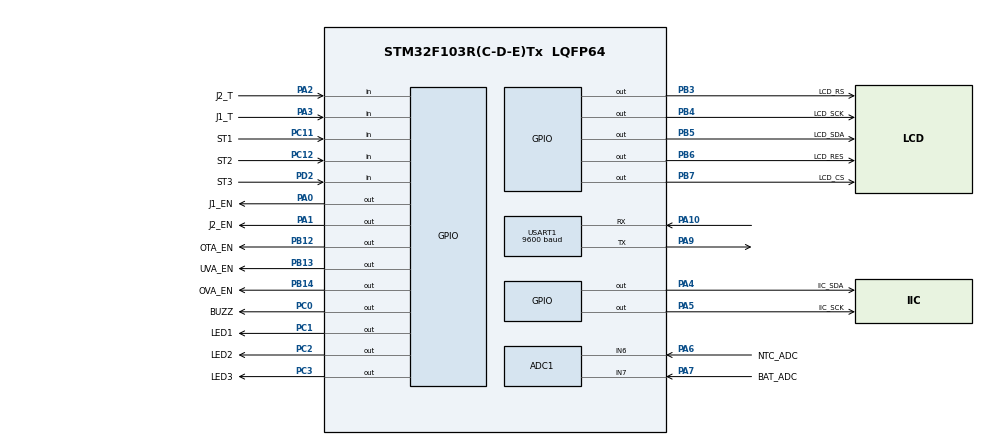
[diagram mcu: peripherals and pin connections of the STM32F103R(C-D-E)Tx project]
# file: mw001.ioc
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ADC1.Channel-0\#ChannelRegularConversion=ADC_CHANNEL_6
ADC1.NbrOfConversionFlag=1
ADC1.Rank-0\#ChannelRegularConversion=1
ADC1.SamplingTime-0\#ChannelRegularConversion=ADC_SAMPLETIME_1CYCLE_5
ADC1.master=1
Dma.Request0=USART1_RX
Dma.USART1_RX.0.Direction=DMA_PERIPH_TO_MEMORY
Dma.USART1_RX.0.Instance=DMA1_Channel5
Dma.USART1_RX.0.MemDataAlignment=DMA_MDATAALIGN_BYTE
Dma.USART1_RX.0.MemInc=DMA_MINC_ENABLE
Dma.USART1_RX.0.Mode=DMA_CIRCULAR
Dma.USART1_RX.0.PeriphDataAlignment=DMA_PDATAALIGN_BYTE
Dma.USART1_RX.0.PeriphInc=DMA_PINC_DISABLE
Dma.USART1_RX.0.Priority=DMA_PRIORITY_LOW
Mcu.Family=STM32F1
Mcu.Name=STM32F103R(C-D-E)Tx
Mcu.Package=LQFP64
NVIC.DMA1_Channel5_IRQn=true\:0\:0\:false\:false\:true\:false\:true
NVIC.PriorityGroup=NVIC_PRIORITYGROUP_4
NVIC.USART1_IRQn=true\:0\:0\:false\:false\:true\:true\:true
PA0-WKUP.GPIO_Label=J1_EN
PA0-WKUP.Signal=GPIO_Output
PA1.GPIO_Label=J2_EN
PA1.Signal=GPIO_Output
PA10.Mode=Asynchronous
PA10.Signal=USART1_RX
PA13.Mode=Serial_Wire
PA13.Signal=SYS_JTMS-SWDIO
PA14.Mode=Serial_Wire
PA14.Signal=SYS_JTCK-SWCLK
PA2.GPIO_Label=J2_T
PA2.Signal=GPIO_Input
PA3.GPIO_Label=J1_T
PA3.Signal=GPIO_Input
PA4.GPIO_Label=IIC_SDA
PA4.Signal=GPIO_Output
PA5.GPIO_Label=IIC_SCK
PA5.Signal=GPIO_Output
PA6.GPIO_Label=NTC_ADC
PA6.Signal=ADCx_IN6
PA7.GPIO_Label=BAT_ADC
PA7.Signal=ADCx_IN7
PA9.Mode=Asynchronous
PA9.Signal=USART1_TX
PB12.GPIO_Label=OTA_EN
PB12.Signal=GPIO_Output
PB13.GPIO_Label=UVA_EN
PB13.Signal=GPIO_Output
PB14.GPIO_Label=OVA_EN
PB14.Signal=GPIO_Output
PB3.GPIO_Label=LCD_RS
PB3.Signal=GPIO_Output
PB4.GPIO_Label=LCD_SCK
PB4.Signal=GPIO_Output
PB5.GPIO_Label=LCD_SDA
PB5.Signal=GPIO_Output
PB6.GPIO_Label=LCD_RES
PB6.Signal=GPIO_Output
PB7.GPIO_Label=LCD_CS
PB7.Signal=GPIO_Output
PC0.GPIO_Label=BUZZ
PC0.Signal=GPIO_Output
PC1.GPIO_Label=LED1
PC1.Signal=GPIO_Output
PC11.GPIO_Label=ST1
PC11.GPIO_PuPd=GPIO_PULLUP
PC11.Signal=GPIO_Input
PC12.GPIO_Label=ST2
PC12.GPIO_PuPd=GPIO_PULLUP
PC12.Signal=GPIO_Input
PC2.GPIO_Label=LED2
PC2.Signal=GPIO_Output
PC3.GPIO_Label=LED3
PC3.Signal=GPIO_Output
PD2.GPIO_Label=ST3
PD2.GPIO_PuPd=GPIO_PULLUP
PD2.Signal=GPIO_Input
ProjectManager.HeapSize=0x200
ProjectManager.StackSize=0x400
ProjectManager.TargetToolchain=MDK-ARM V5.27
RCC.APB1Freq_Value=8000000
RCC.APB2Freq_Value=8000000
SH.ADCx_IN6.0=ADC1_IN6,IN6
SH.ADCx_IN7.0=ADC1_IN7,IN7
USART1.BaudRate=9600
USART1.VirtualMode=VM_ASYNC
board=custom

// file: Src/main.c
/* USER CODE BEGIN Header */
/**
  ******************************************************************************
  * @file           : main.c
  * @brief          : Main program body
  ******************************************************************************
  * @attention
  *
  * <h2><center>&copy; Copyright (c) 2020 STMicroelectronics.
  * All rights reserved.</center></h2>
  *
  * This software component is licensed by ST under BSD 3-Clause license,
  * the "License"; You may not use this file except in compliance with the
  * License. You may obtain a copy of the License at:
  *                        opensource.org/licenses/BSD-3-Clause
  *
  ******************************************************************************
  */
/* USER CODE END Header */

#include "main.h"
#include "adc.h"
#include "dma.h"
#include "usart.h"
#include "gpio.h"

/* USER CODE BEGIN Includes */
#include "tx_api.h"
/* USER CODE END Includes */

void SystemClock_Config(void);

/* USER CODE BEGIN 0 */
TX_THREAD my_thread1;

TX_THREAD my_thread2;

TX_TIMER led_timer;

void led_timer_callback(ULONG param)
{
  HAL_GPIO_TogglePin(GPIOA, GPIO_PIN_8);
}

void my_thread1_entry(ULONG thread_input)
{
  /* Enter into a forever loop. */

  UINT status;
  status = tx_timer_create(&led_timer, "led_timer", led_timer_callback, 111, 100, 100, TX_AUTO_ACTIVATE);

  while (1)
  {
 //   printf("threadx 1 application running...\r\n");
    /* Sleep for 1 tick. */
    tx_thread_sleep(1000);
  }
}
void my_thread2_entry(ULONG thread_input)
{
  /* Enter into a forever loop. */
  while (1)
  {
//    printf("threadx 2 application running...\r\n");
    /* Sleep for 1 tick. */
    tx_thread_sleep(1000);
  }
}

void tx_application_define(void *first_unused_memory)
{
  /* Create my_thread! */
  tx_thread_create(&my_thread1, "My Thread 1",
                   my_thread1_entry, 0x1234, first_unused_memory, 1024, 3, 3, TX_NO_TIME_SLICE, TX_AUTO_START);

  tx_thread_create(&my_thread2, "My Thread 2",
                   my_thread2_entry, 0x1234, first_unused_memory + 1024, 1024, 1, 1, TX_NO_TIME_SLICE, TX_AUTO_START);
}
/* USER CODE END 0 */

int main(void)
{

  /* MCU Configuration--------------------------------------------------------*/

  /* Reset of all peripherals, Initializes the Flash interface and the Systick. */
  HAL_Init();

  /* Configure the system clock */
  SystemClock_Config();

  /* Initialize all configured peripherals */
  MX_GPIO_Init();
  MX_DMA_Init();
  MX_ADC1_Init();
  MX_USART1_UART_Init();
  /* USER CODE BEGIN 2 */
  tx_kernel_enter();
  /* USER CODE END 2 */

  /* Infinite loop */
  while (1)
  {

  }
}

void SystemClock_Config(void)
{
  RCC_OscInitTypeDef RCC_OscInitStruct = {0};
  RCC_ClkInitTypeDef RCC_ClkInitStruct = {0};
  RCC_PeriphCLKInitTypeDef PeriphClkInit = {0};

  /** Initializes the CPU, AHB and APB busses clocks
  */
  RCC_OscInitStruct.OscillatorType = RCC_OSCILLATORTYPE_HSI;
  RCC_OscInitStruct.HSIState = RCC_HSI_ON;
  RCC_OscInitStruct.HSICalibrationValue = RCC_HSICALIBRATION_DEFAULT;
  RCC_OscInitStruct.PLL.PLLState = RCC_PLL_NONE;
  if (HAL_RCC_OscConfig(&RCC_OscInitStruct) != HAL_OK)
  {
    Error_Handler();
  }
  /** Initializes the CPU, AHB and APB busses clocks
  */
  RCC_ClkInitStruct.ClockType = RCC_CLOCKTYPE_HCLK | RCC_CLOCKTYPE_SYSCLK | RCC_CLOCKTYPE_PCLK1 | RCC_CLOCKTYPE_PCLK2;
  RCC_ClkInitStruct.SYSCLKSource = RCC_SYSCLKSOURCE_HSI;
  RCC_ClkInitStruct.AHBCLKDivider = RCC_SYSCLK_DIV1;
  RCC_ClkInitStruct.APB1CLKDivider = RCC_HCLK_DIV1;
  RCC_ClkInitStruct.APB2CLKDivider = RCC_HCLK_DIV1;

  if (HAL_RCC_ClockConfig(&RCC_ClkInitStruct, FLASH_LATENCY_0) != HAL_OK)
  {
    Error_Handler();
  }
  PeriphClkInit.PeriphClockSelection = RCC_PERIPHCLK_ADC;
  PeriphClkInit.AdcClockSelection = RCC_ADCPCLK2_DIV2;
  if (HAL_RCCEx_PeriphCLKConfig(&PeriphClkInit) != HAL_OK)
  {
    Error_Handler();
  }
}

void Error_Handler(void)
{
}

/************************ (C) COPYRIGHT STMicroelectronics *****END OF FILE****/
